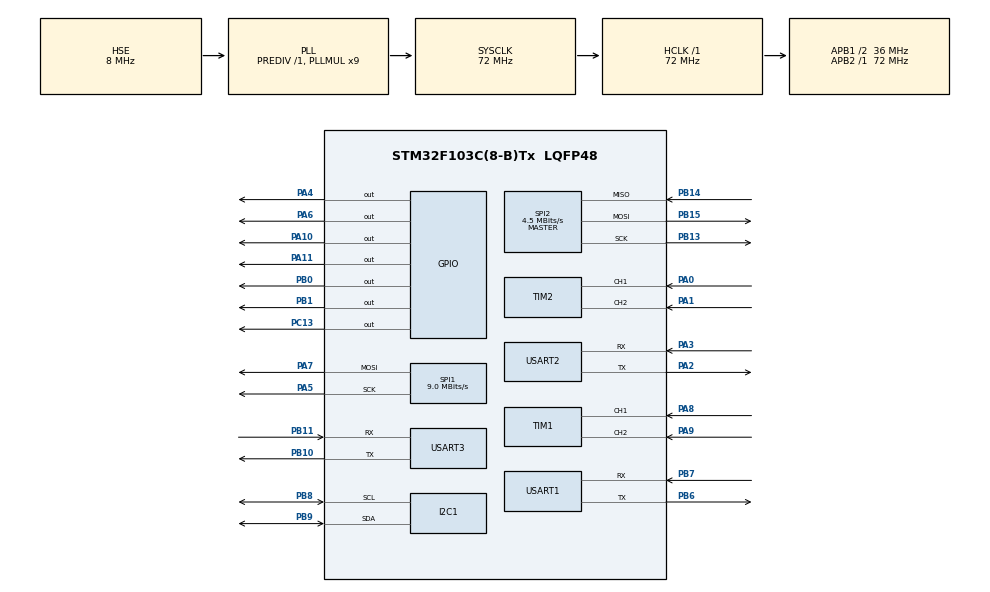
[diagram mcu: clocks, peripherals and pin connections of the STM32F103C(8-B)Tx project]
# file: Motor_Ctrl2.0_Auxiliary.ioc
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FREERTOS.Tasks01=defaultTask,24,128,StartDefaultTask,Default,NULL,Dynamic,NULL,NULL;connect_with_ma,8,128,connect_with_main,Default,NULL,Dynamic,NULL,NULL;Servo_ctrl,47,128,Servo_ctrl_task,Default,NULL,Dynamic,NULL,NULL;Walk,8,128,Walk_task,Default,NULL,Dynamic,NULL,NULL
Mcu.Family=STM32F1
Mcu.Name=STM32F103C(8-B)Tx
Mcu.Package=LQFP48
NVIC.PriorityGroup=NVIC_PRIORITYGROUP_4
NVIC.USART2_IRQn=true\:5\:0\:false\:false\:true\:true\:true\:true\:true
NVIC.USART3_IRQn=true\:5\:0\:false\:false\:true\:true\:true\:true\:true
PA0-WKUP.Signal=S_TIM2_CH1_ETR
PA1.Signal=S_TIM2_CH2
PA10.Signal=GPIO_Output
PA11.Signal=GPIO_Output
PA13.Mode=Serial_Wire
PA13.Signal=SYS_JTMS-SWDIO
PA14.Mode=Serial_Wire
PA14.Signal=SYS_JTCK-SWCLK
PA2.Mode=Asynchronous
PA2.Signal=USART2_TX
PA3.Mode=Asynchronous
PA3.Signal=USART2_RX
PA4.Signal=GPIO_Output
PA5.Mode=TX_Only_Simplex_Unidirect_Master
PA5.Signal=SPI1_SCK
PA6.Signal=GPIO_Output
PA7.Mode=TX_Only_Simplex_Unidirect_Master
PA7.Signal=SPI1_MOSI
PA8.Signal=S_TIM1_CH1
PA9.Signal=S_TIM1_CH2
PB0.Signal=GPIO_Output
PB1.Signal=GPIO_Output
PB10.Mode=Asynchronous
PB10.Signal=USART3_TX
PB11.Mode=Asynchronous
PB11.Signal=USART3_RX
PB13.Mode=Full_Duplex_Master
PB13.Signal=SPI2_SCK
PB14.Mode=Full_Duplex_Master
PB14.Signal=SPI2_MISO
PB15.Mode=Full_Duplex_Master
PB15.Signal=SPI2_MOSI
PB6.Mode=Asynchronous
PB6.Signal=USART1_TX
PB7.Mode=Asynchronous
PB7.Signal=USART1_RX
PB8.Mode=I2C
PB8.Signal=I2C1_SCL
PB9.Mode=I2C
PB9.Signal=I2C1_SDA
PC13-TAMPER-RTC.Signal=GPIO_Output
PD0-OSC_IN.Mode=HSE-External-Oscillator
PD0-OSC_IN.Signal=RCC_OSC_IN
PD1-OSC_OUT.Mode=HSE-External-Oscillator
PD1-OSC_OUT.Signal=RCC_OSC_OUT
ProjectManager.HeapSize=0x200
ProjectManager.StackSize=0x400
ProjectManager.TargetToolchain=MDK-ARM V5.32
RCC.AHBFreq_Value=72000000
RCC.APB1CLKDivider=RCC_HCLK_DIV2
RCC.APB1Freq_Value=36000000
RCC.APB1TimFreq_Value=72000000
RCC.APB2Freq_Value=72000000
RCC.APB2TimFreq_Value=72000000
RCC.HCLKFreq_Value=72000000
RCC.PLLMUL=RCC_PLL_MUL9
RCC.PLLSourceVirtual=RCC_PLLSOURCE_HSE
RCC.SYSCLKFreq_VALUE=72000000
RCC.SYSCLKSource=RCC_SYSCLKSOURCE_PLLCLK
RCC.USBFreq_Value=72000000
SH.S_TIM1_CH1.0=TIM1_CH1,Encoder_Interface
SH.S_TIM1_CH2.0=TIM1_CH2,Encoder_Interface
SH.S_TIM2_CH1_ETR.0=TIM2_CH1,Encoder_Interface
SH.S_TIM2_CH2.0=TIM2_CH2,Encoder_Interface
SPI1.BaudRatePrescaler=SPI_BAUDRATEPRESCALER_8
SPI1.CalculateBaudRate=9.0 MBits/s
SPI1.Direction=SPI_DIRECTION_2LINES
SPI1.Mode=SPI_MODE_MASTER
SPI1.VirtualType=VM_MASTER
SPI2.BaudRatePrescaler=SPI_BAUDRATEPRESCALER_8
SPI2.CalculateBaudRate=4.5 MBits/s
SPI2.Direction=SPI_DIRECTION_2LINES
SPI2.Mode=SPI_MODE_MASTER
SPI2.VirtualType=VM_MASTER
USART1.VirtualMode=VM_ASYNC
USART2.VirtualMode=VM_ASYNC
USART3.VirtualMode=VM_ASYNC
VP_CRC_VS_CRC.Mode=CRC_Activate
VP_FREERTOS_VS_CMSIS_V2.Mode=CMSIS_V2
board=custom

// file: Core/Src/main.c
/* USER CODE BEGIN Header */
/**
  ******************************************************************************
  * @file           : main.c
  * @brief          : Main program body
  ******************************************************************************
  * @attention
  *
  * Copyright (c) 2024 STMicroelectronics.
  * All rights reserved.
  *
  * This software is licensed under terms that can be found in the LICENSE file
  * in the root directory of this software component.
  * If no LICENSE file comes with this software, it is provided AS-IS.
  *
  ******************************************************************************
  */
/* USER CODE END Header */
#include "main.h"
#include "cmsis_os.h"
#include "crc.h"
#include "i2c.h"
#include "spi.h"
#include "tim.h"
#include "usart.h"
#include "gpio.h"

/* USER CODE BEGIN Includes */
#include "speed.h"
/* USER CODE END Includes */

void SystemClock_Config(void);
void MX_FREERTOS_Init(void);

int main(void)
{

  /* MCU Configuration--------------------------------------------------------*/

  /* Reset of all peripherals, Initializes the Flash interface and the Systick. */
  HAL_Init();

  /* Configure the system clock */
  SystemClock_Config();

  /* Initialize all configured peripherals */
  MX_GPIO_Init();
  MX_I2C1_Init();
  MX_SPI1_Init();
  MX_SPI2_Init();
  MX_TIM1_Init();
  MX_TIM2_Init();
  MX_USART1_UART_Init();
  MX_USART2_UART_Init();
  MX_USART3_UART_Init();
  MX_CRC_Init();
  /* USER CODE BEGIN 2 */
	speed_meter_init();
  /* USER CODE END 2 */

  /* Init scheduler */
  osKernelInitialize();  /* Call init function for freertos objects (in freertos.c) */
  MX_FREERTOS_Init();

  /* Start scheduler */
  osKernelStart();
  /* We should never get here as control is now taken by the scheduler */
  /* Infinite loop */
  while (1)
  {

  }
}

void SystemClock_Config(void)
{
  RCC_OscInitTypeDef RCC_OscInitStruct = {0};
  RCC_ClkInitTypeDef RCC_ClkInitStruct = {0};

  /** Initializes the RCC Oscillators according to the specified parameters
  * in the RCC_OscInitTypeDef structure.
  */
  RCC_OscInitStruct.OscillatorType = RCC_OSCILLATORTYPE_HSE;
  RCC_OscInitStruct.HSEState = RCC_HSE_ON;
  RCC_OscInitStruct.HSEPredivValue = RCC_HSE_PREDIV_DIV1;
  RCC_OscInitStruct.HSIState = RCC_HSI_ON;
  RCC_OscInitStruct.PLL.PLLState = RCC_PLL_ON;
  RCC_OscInitStruct.PLL.PLLSource = RCC_PLLSOURCE_HSE;
  RCC_OscInitStruct.PLL.PLLMUL = RCC_PLL_MUL9;
  if (HAL_RCC_OscConfig(&RCC_OscInitStruct) != HAL_OK)
  {
    Error_Handler();
  }

  /** Initializes the CPU, AHB and APB buses clocks
  */
  RCC_ClkInitStruct.ClockType = RCC_CLOCKTYPE_HCLK|RCC_CLOCKTYPE_SYSCLK
                              |RCC_CLOCKTYPE_PCLK1|RCC_CLOCKTYPE_PCLK2;
  RCC_ClkInitStruct.SYSCLKSource = RCC_SYSCLKSOURCE_PLLCLK;
  RCC_ClkInitStruct.AHBCLKDivider = RCC_SYSCLK_DIV1;
  RCC_ClkInitStruct.APB1CLKDivider = RCC_HCLK_DIV2;
  RCC_ClkInitStruct.APB2CLKDivider = RCC_HCLK_DIV1;

  if (HAL_RCC_ClockConfig(&RCC_ClkInitStruct, FLASH_LATENCY_2) != HAL_OK)
  {
    Error_Handler();
  }
}

void Error_Handler(void)
{
  __disable_irq();
  while (1)
  {
  }
}

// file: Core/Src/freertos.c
/* USER CODE BEGIN Header */
/**
  ******************************************************************************
  * File Name          : freertos.c
  * Description        : Code for freertos applications
  ******************************************************************************
  * @attention
  *
  * Copyright (c) 2024 STMicroelectronics.
  * All rights reserved.
  *
  * This software is licensed under terms that can be found in the LICENSE file
  * in the root directory of this software component.
  * If no LICENSE file comes with this software, it is provided AS-IS.
  *
  ******************************************************************************
  */
/* USER CODE END Header */

#include "FreeRTOS.h"
#include "task.h"
#include "main.h"
#include "cmsis_os.h"

/* USER CODE BEGIN Includes */
#include "transmit.h"
#include "servo_ctrl.h"
#include "usart.h"
#include "walk.h"
#include "speed.h"
#include "tim.h"
/* USER CODE END Includes */

/* USER CODE BEGIN Variables */
float walk_speed=0.025;

/* USER CODE END Variables */
/* Definitions for defaultTask */
osThreadId_t defaultTaskHandle;
const osThreadAttr_t defaultTask_attributes = {
  .name = "defaultTask",
  .stack_size = 128 * 4,
  .priority = (osPriority_t) osPriorityNormal,
};
/* Definitions for connect_with_ma */
osThreadId_t connect_with_maHandle;
const osThreadAttr_t connect_with_ma_attributes = {
  .name = "connect_with_ma",
  .stack_size = 128 * 4,
  .priority = (osPriority_t) osPriorityLow,
};
/* Definitions for Servo_ctrl */
osThreadId_t Servo_ctrlHandle;
const osThreadAttr_t Servo_ctrl_attributes = {
  .name = "Servo_ctrl",
  .stack_size = 128 * 4,
  .priority = (osPriority_t) osPriorityHigh7,
};
/* Definitions for Walk */
osThreadId_t WalkHandle;
const osThreadAttr_t Walk_attributes = {
  .name = "Walk",
  .stack_size = 128 * 4,
  .priority = (osPriority_t) osPriorityLow,
};

void StartDefaultTask(void *argument);
void connect_with_main(void *argument);
void Servo_ctrl_task(void *argument);
void Walk_task(void *argument);

void MX_FREERTOS_Init(void); /* (MISRA C 2004 rule 8.1) */

void MX_FREERTOS_Init(void) {

  /* Create the thread(s) */
  /* creation of defaultTask */
  defaultTaskHandle = osThreadNew(StartDefaultTask, NULL, &defaultTask_attributes);

  /* creation of connect_with_ma */
  connect_with_maHandle = osThreadNew(connect_with_main, NULL, &connect_with_ma_attributes);

  /* creation of Servo_ctrl */
  Servo_ctrlHandle = osThreadNew(Servo_ctrl_task, NULL, &Servo_ctrl_attributes);

  /* creation of Walk */
  WalkHandle = osThreadNew(Walk_task, NULL, &Walk_attributes);

}

void StartDefaultTask(void *argument)
{
  for(;;)
  {
    osDelay(1);
  }
}

void connect_with_main(void *argument)
{
  /* USER CODE BEGIN connect_with_main */
	auxilliary_board.head=0x51;
	receieve_from_board();
	/* Infinite loop */
  for(;;)
  {
		auxilliary_board.speed[0]=-get_speed(&htim2);
		auxilliary_board.speed[1]=-get_speed(&htim1);
		auxilliary_board.servo_mode_and_height=main_board.servo_mode_and_height+1;

		connect_with_board();
    osDelay(10);
  }
  /* USER CODE END connect_with_main */
}

void Servo_ctrl_task(void *argument)
{
  /* USER CODE BEGIN Servo_ctrl_task */
	servos_data_init();
	uint8_t i;

	for(i=0;i<6;i++)
	{
		HAL_GPIO_TogglePin(GPIOC,GPIO_PIN_13);
		osDelay(500);
	}

  /* Infinite loop */
  for(;;)
  {
		main_data_parse();

		if(drive_height)
			drive_mode();

		HAL_UART_Transmit(&huart3,servos,15,3);
    osDelay(50);

		i+=1;
		if(i==10)
		{
			i=0;
			HAL_GPIO_TogglePin(GPIOC,GPIO_PIN_13);
		}
  }
  /* USER CODE END Servo_ctrl_task */
}

void Walk_task(void *argument)
{
  /* USER CODE BEGIN Walk_task */
  /* Infinite loop */
  for(;;)
  {
		if(walk_speed>-10)
		{
			walk_speed_set(walk_speed);
			Servo_Degree_calc_walk();
		}
    osDelay(30);
  }
  /* USER CODE END Walk_task */
}

/* USER CODE BEGIN Application */
void HAL_UART_RxCpltCallback(UART_HandleTypeDef *huart)//串口接收完成回调函数
{
	if(huart->Instance == USART2)
	{
   receieve_from_board();
	}
}
/* USER CODE END Application */
